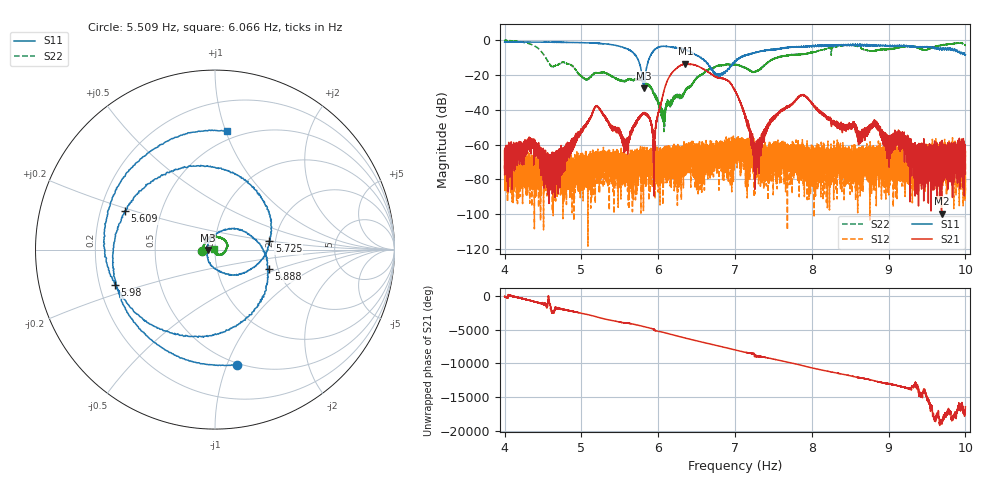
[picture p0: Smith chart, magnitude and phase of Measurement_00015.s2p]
!Created with skrf (http://scikit-rf.org).
# Hz S RI R 50.0
!freq ReS11 ImS11 ReS21 ImS21 ReS12 ImS12 ReS22 ImS22
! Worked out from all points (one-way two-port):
!   14001 points, 4 Hz to 10 Hz, reference 50 ohm
!   highest |S21| = -13.60 dB at 6.355 Hz (marker M1); lowest = -99.6 dB at 9.689 Hz (marker M2)
!   lowest |S11| = -27.6 dB at 5.81 Hz (marker M3), VSWR 1.09, Z = 46 - j0.229 ohm
!   |S11| at or under -10 dB: 5.722 Hz to 5.888 Hz (165.1 mHz wide, 2.84 % of centre); 6.559 Hz to 7.064 Hz (505.4 mHz wide, 7.42 % of centre); 7.064341 Hz to 7.068083 Hz (3.743 mHz wide, 0.053 % of centre) (the widest 3 of 10)
!   |S22| runs from -52.5 to -0.2 dB; largest |S21 - S12| = 0.21
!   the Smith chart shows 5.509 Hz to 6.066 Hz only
!   S11 on the Smith chart (normalised r, x): 5.509 Hz: 0.48, -1.09; 5.609 Hz: 0.30, +0.19; 5.725 Hz: 1.86, +0.20; 5.888 Hz: 1.78, -0.44; 5.98 Hz: 0.26, -0.16; 6.066 Hz: 0.43, +1.01
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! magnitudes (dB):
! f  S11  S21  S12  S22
! 4 Hz  -1.1  -63.5  -72.1  -0.2
! 4.341 Hz  -1.1  -57.6  -70.2  -2.4
! 4.602 Hz  -1.2  -73.3  -76.0  -14.6
! 5 Hz  -1.4  -53.0  -78.6  -20.8
! 5.2 Hz  -1.8  -37.7  -70.0  -18.8
! 5.509 Hz  -3.7  -52.9  -66.3  -23.0
! 5.609 Hz  -5.2  -60.2  -70.3  -22.3
! 5.725 Hz  -10.3  -46.0  -68.0  -22.7
! 5.81 Hz  -27.6  -42.6  -65.2  -23.8
! 5.888 Hz  -9.9  -45.3  -67.0  -25.8
! 5.98 Hz  -4.6  -46.3  -64.0  -33.5
! 6 Hz  -4.1  -42.7  -67.5  -34.8
! 6.066 Hz  -3.6  -30.8  -85.4  -44.7
! 6.355 Hz  -5.4  -13.6  -68.1  -28.7
! 6.775 Hz  -20.5  -21.7  -65.1  -14.7
! 7 Hz  -12.3  -29.0  -57.9  -14.1
! 7.273 Hz  -7.1  -62.1  -59.9  -17.7
! 7.584 Hz  -5.1  -41.7  -67.3  -9.6
! 8 Hz  -3.6  -36.1  -66.7  -6.9
! 9 Hz  -3.3  -55.6  -74.4  -5.0
! 9.689 Hz  -5.4  -99.6  -62.7  -2.9
! 10 Hz  -8.4  -74.4  -75.2  -3.1
